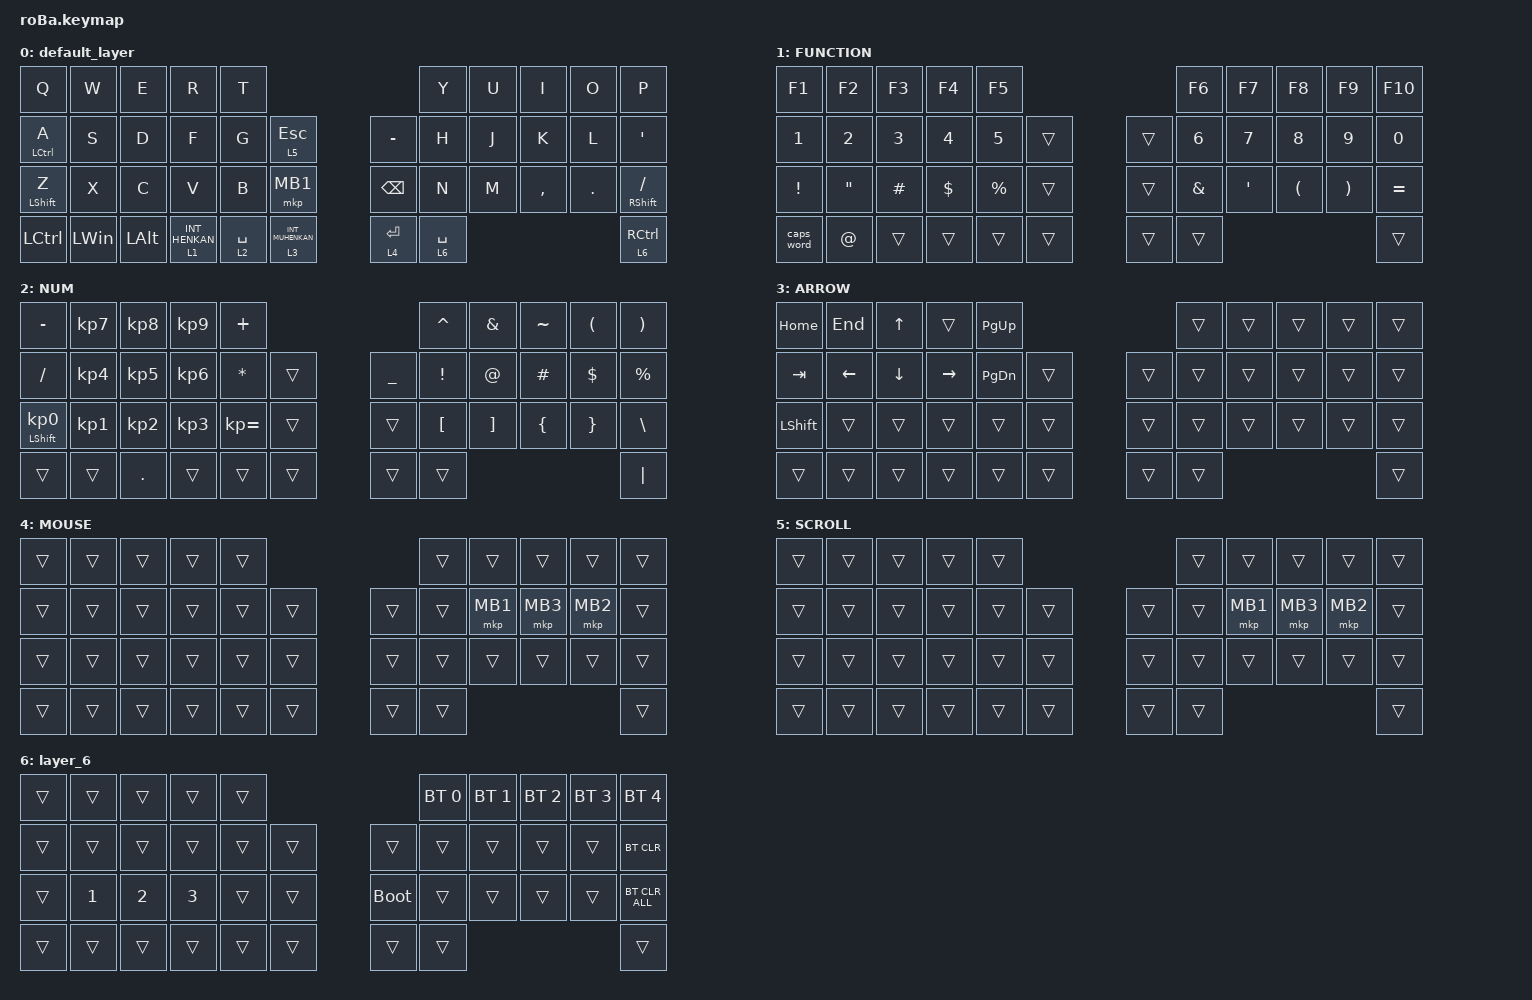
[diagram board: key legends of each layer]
#include <behaviors.dtsi>
#include <dt-bindings/zmk/bt.h>
#include <dt-bindings/zmk/keys.h>
#include <dt-bindings/zmk/pointing.h>

&mt {
    flavor = "balanced";
    quick-tap-ms = <0>;
};

&trackball {
    automouse-layer = <4>;
    scroll-layers = <5>;

    // arrows {
    //     layers = <3>;
    //     bindings =
    //         <&kp RIGHT_ARROW>,
    //         <&kp LEFT_ARROW>,
    //         <&kp UP_ARROW>,
    //         <&kp DOWN_ARROW>;
    //     tick = <10>;
    //     wait-ms = <5>;
    //     tap-ms = <5>;
    // };
};

/ {
    combos {
        compatible = "zmk,combos";

        tab {
            bindings = <&kp TAB>;
            key-positions = <11 12>;
        };

        shift_tab {
            bindings = <&kp LS(TAB)>;
            key-positions = <12 13>;
        };

        muhennkann {
            bindings = <&to_layer_0 INT_MUHENKAN>;
            key-positions = <11 10>;
        };

        double_quotation {
            bindings = <&kp DOUBLE_QUOTES>;
            key-positions = <20 21>;
        };

        eq {
            bindings = <&kp EQUAL>;
            key-positions = <24 25>;
        };

        kako1 {
            bindings = <&kp LPAR>;
            key-positions = <5 6>;
        };

        kako2 {
            bindings = <&kp RPAR>;
            key-positions = <6 7>;
        };

        equal {
            bindings = <&kp KP_EQUAL>;
            key-positions = <7 8>;
        };

        atmark {
            bindings = <&kp AT>;
            key-positions = <1 2>;
        };
    };

    macros {
        to_layer_0: to_layer_0 {
            compatible = "zmk,behavior-macro-one-param";
            #binding-cells = <1>;
            bindings = <&to 0 &macro_param_1to1 &kp MACRO_PLACEHOLDER>;
            label = "TO_LAYER_0";
        };
    };

    behaviors {
        lt_to_layer_0: lt_to_layer_0 {
            compatible = "zmk,behavior-hold-tap";
            label = "LAYER_TAP_TO_0";
            bindings = <&mo>, <&to_layer_0>;

            #binding-cells = <2>;
            tapping-term-ms = <200>;
        };
    };

    keymap {
        compatible = "zmk,keymap";

        default_layer {
            bindings = <
&kp Q             &kp W         &kp E         &kp R                        &kp T                                                                   &kp Y        &kp U  &kp I      &kp O    &kp P
&mt LCTRL A       &kp S         &kp D         &kp F                        &kp G        &lt_to_layer_0 5 ESCAPE            &kp MINUS               &kp H        &kp J  &kp K      &kp L    &kp SQT
&mt LEFT_SHIFT Z  &kp X         &kp C         &kp V                        &kp B        &mkp MB1                           &kp BACKSPACE           &kp N        &kp M  &kp COMMA  &kp DOT  &mt RIGHT_SHIFT SLASH
&kp LCTRL         &kp LEFT_WIN  &kp LEFT_ALT  &lt_to_layer_0 1 INT_HENKAN  &lt 2 SPACE  &lt_to_layer_0 3 INT_MUHENKAN      &lt_to_layer_0 4 ENTER  &lt 6 SPACE                             &lt 6 RCTRL
            >;
        };

        FUNCTION {
            bindings = <
&kp F1           &kp F2             &kp F3        &kp F4        &kp F5                            &kp F6         &kp F7        &kp F8        &kp F9                 &kp F10
&kp NUMBER_1     &kp NUMBER_2       &kp NUMBER_3  &kp NUMBER_4  &kp NUMBER_5  &trans      &trans  &kp NUMBER_6   &kp NUMBER_7  &kp NUMBER_8  &kp NUMBER_9           &kp NUMBER_0
&kp EXCLAMATION  &kp DOUBLE_QUOTES  &kp HASH      &kp DOLLAR    &kp PERCENT   &trans      &trans  &kp AMPERSAND  &kp SQT       &kp LPAR      &kp RIGHT_PARENTHESIS  &kp EQUAL
&caps_word       &kp AT             &trans        &trans        &trans        &trans      &trans  &trans                                                            &trans
            >;
        };

        NUM {
            bindings = <
&kp MINUS                   &kp KP_NUMBER_7  &kp KP_NUMBER_8  &kp KP_NUMBER_9  &kp PLUS                                  &kp CARET         &kp AMPERSAND      &kp TILDE       &kp LEFT_PARENTHESIS  &kp RIGHT_PARENTHESIS
&kp SLASH                   &kp KP_NUMBER_4  &kp KP_NUMBER_5  &kp KP_NUMBER_6  &kp ASTERISK  &trans      &kp UNDERSCORE  &kp EXCLAMATION   &kp AT_SIGN        &kp HASH        &kp DOLLAR            &kp PERCENT
&mt LEFT_SHIFT KP_NUMBER_0  &kp KP_NUMBER_1  &kp KP_NUMBER_2  &kp KP_NUMBER_3  &kp KP_EQUAL  &trans      &trans          &kp LEFT_BRACKET  &kp RIGHT_BRACKET  &kp LEFT_BRACE  &kp RIGHT_BRACE       &kp BACKSLASH
&trans                      &trans           &kp PERIOD       &trans           &trans        &trans      &trans          &trans                                                                     &kp PIPE
            >;
        };

        ARROW {
            bindings = <
&kp HOME        &kp END         &kp UP_ARROW    &trans           &kp PAGE_UP                        &trans  &trans  &trans  &trans  &trans
&kp TAB         &kp LEFT_ARROW  &kp DOWN_ARROW  &kp RIGHT_ARROW  &kp PAGE_DOWN  &trans      &trans  &trans  &trans  &trans  &trans  &trans
&kp LEFT_SHIFT  &trans          &trans          &trans           &trans         &trans      &trans  &trans  &trans  &trans  &trans  &trans
&trans          &trans          &trans          &trans           &trans         &trans      &trans  &trans                          &trans
            >;
        };

        MOUSE {
            bindings = <
&trans  &trans  &trans  &trans  &trans                      &trans  &trans    &trans    &trans    &trans
&trans  &trans  &trans  &trans  &trans  &trans      &trans  &trans  &mkp MB1  &mkp MB3  &mkp MB2  &trans
&trans  &trans  &trans  &trans  &trans  &trans      &trans  &trans  &trans    &trans    &trans    &trans
&trans  &trans  &trans  &trans  &trans  &trans      &trans  &trans                                &trans
            >;
        };

        SCROLL {
            bindings = <
&trans  &trans  &trans  &trans  &trans                      &trans  &trans    &trans    &trans    &trans
&trans  &trans  &trans  &trans  &trans  &trans      &trans  &trans  &mkp MB1  &mkp MB3  &mkp MB2  &trans
&trans  &trans  &trans  &trans  &trans  &trans      &trans  &trans  &trans    &trans    &trans    &trans
&trans  &trans  &trans  &trans  &trans  &trans      &trans  &trans                                &trans
            >;
        };

        layer_6 {
            bindings = <
&trans  &trans        &trans        &trans        &trans                           &bt BT_SEL 0  &bt BT_SEL 1  &bt BT_SEL 2  &bt BT_SEL 3  &bt BT_SEL 4
&trans  &trans        &trans        &trans        &trans  &trans      &trans       &trans        &trans        &trans        &trans        &bt BT_CLR
&trans  &kp NUMBER_1  &kp NUMBER_2  &kp NUMBER_3  &trans  &trans      &bootloader  &trans        &trans        &trans        &trans        &bt BT_CLR_ALL
&trans  &trans        &trans        &trans        &trans  &trans      &trans       &trans                                                  &trans
            >;
        };
    };
};
